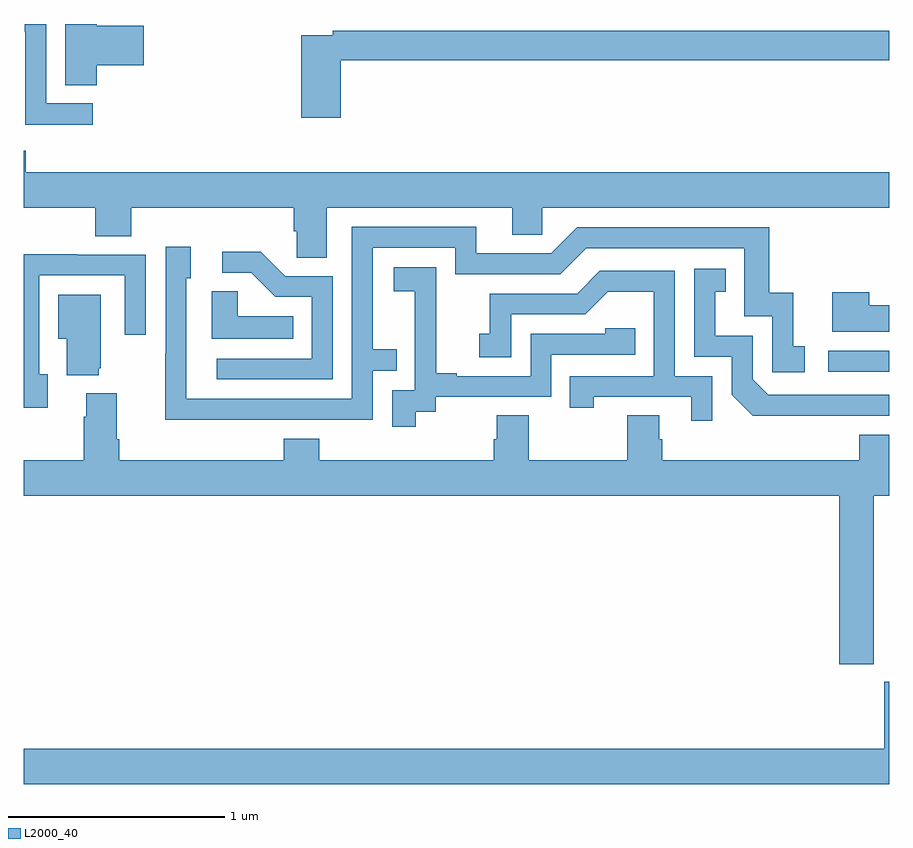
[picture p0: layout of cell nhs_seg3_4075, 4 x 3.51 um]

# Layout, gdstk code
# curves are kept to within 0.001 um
import gdstk
lib = gdstk.Library(unit=1e-6, precision=1e-09)
def R(c, l, rs):  # rectangles x0, y0, x1, y1
    for r in rs: c.add(gdstk.rectangle(r[:2], r[2:], *l))
def P(c, l, *ps):  # polygons
    for p in ps: c.add(gdstk.Polygon(p, *l))
L2000_40 = (2000, 40)

nhs_seg3_4075 = lib.new_cell('nhs_seg3_4075')
R(nhs_seg3_4075, L2000_40, [(328.719,730.794,329,730.89)])
P(nhs_seg3_4075, L2000_40, [(325.337,732.209),(325.555,732.209),(325.555,732.392),(325.337,732.392),(325.337,732.4),(325.193,732.4),(325.193,732.118),(325.337,732.118)],
  [(325.318,732.033),(325.104,732.033),(325.104,732.4),(325.006,732.4),(325.006,732.364),(325.008,732.364),(325.008,731.935),(325.318,731.935)],
  [(326.465,732.232),(329,732.232),(329,732.368),(326.428,732.368),(326.428,732.348),(326.282,732.348),(326.282,731.967),(326.465,731.967)],
  [(326.401,731.552),(327.257,731.552),(327.257,731.425),(327.396,731.425),(327.396,731.552),(329,731.552),(329,731.716),(325.01,731.716),(325.01,731.815),(325,731.815),(325,731.552),(325.331,731.552),(325.331,731.419),(325.496,731.419),(325.496,731.552),(326.249,731.552),(326.249,731.443),(326.262,731.443),(326.262,731.32),(326.401,731.32)],
  [(326.117,730.572),(326.613,730.572),(326.613,730.797),(326.723,730.797),(326.723,730.898),(326.613,730.898),(326.613,731.367),(326.994,731.367),(326.994,731.244),(327.48,731.244),(327.6,731.364),(328.329,731.364),(328.329,731.049),(328.458,731.049),(328.458,730.791),(328.609,730.791),(328.609,730.911),(328.556,730.911),(328.556,731.158),(328.445,731.158),(328.445,731.46),(327.558,731.46),(327.438,731.34),(327.091,731.34),(327.091,731.463),(326.517,731.463),(326.517,730.668),(325.752,730.668),(325.752,731.226),(325.771,731.226),(325.771,731.371),(325.656,731.371),(325.656,730.877),(325.654,730.877),(325.654,730.571)],
  [(326.427,731.235),(326.208,731.235),(326.095,731.348),(325.917,731.348),(325.917,731.25),(326.051,731.25),(326.162,731.139),(326.331,731.139),(326.331,730.854),(325.893,730.854),(325.893,730.758),(326.427,730.758)],
  [(325.111,730.782),(325.071,730.782),(325.071,731.238),(325.467,731.238),(325.467,730.965),(325.563,730.965),(325.563,731.334),(325.247,731.334),(325.247,731.336),(325,731.336),(325,730.626),(325.111,730.626)],
  [(326.812,730.609),(326.904,730.609),(326.904,730.677),(327.438,730.677),(327.438,730.872),(327.827,730.872),(327.827,730.995),(327.687,730.995),(327.687,730.968),(327.342,730.968),(327.342,730.773),(327.001,730.773),(327.001,730.786),(326.906,730.786),(326.906,731.069),(326.907,731.069),(326.907,731.275),(326.709,731.275),(326.709,731.165),(326.807,731.165),(326.807,730.937),(326.808,730.937),(326.808,730.707),(326.703,730.707),(326.703,730.539),(326.812,730.539)],
  [(328.778,730.59),(329,730.59),(329,730.686),(328.44,730.686),(328.368,730.758),(328.368,730.959),(328.195,730.959),(328.195,731.163),(328.244,731.163),(328.244,731.269),(328.098,731.269),(328.098,730.863),(328.272,730.863),(328.272,730.686),(328.37,730.589)],
  [(328.182,730.773),(328.008,730.773),(328.008,731.259),(327.662,731.259),(327.557,731.154),(327.154,731.154),(327.154,730.969),(327.105,730.969),(327.105,730.86),(327.252,730.86),(327.252,731.058),(327.594,731.058),(327.698,731.162),(327.912,731.162),(327.912,730.773),(327.523,730.773),(327.523,730.626),(327.634,730.626),(327.634,730.677),(328.085,730.677),(328.085,730.566),(328.182,730.566)],
  [(326.246,731.05),(325.989,731.05),(325.989,731.165),(325.868,731.165),(325.868,730.946),(326.246,730.946)],
  [(329,731.101),(328.907,731.101),(328.907,731.161),(328.736,731.161),(328.736,730.979),(329,730.979)],
  [(325.346,730.809),(325.357,730.809),(325.357,731.149),(325.16,731.149),(325.16,730.946),(325.199,730.946),(325.199,730.778),(325.346,730.778)],
  [(328.929,730.22),(329,730.22),(329,730.501),(328.862,730.501),(328.862,730.384),(327.95,730.384),(327.95,730.482),(327.937,730.482),(327.937,730.592),(327.79,730.592),(327.79,730.384),(327.333,730.384),(327.333,730.592),(327.185,730.592),(327.185,730.482),(327.173,730.482),(327.173,730.384),(326.366,730.384),(326.366,730.483),(326.201,730.483),(326.201,730.384),(325.442,730.384),(325.442,730.48),(325.429,730.48),(325.429,730.693),(325.289,730.693),(325.289,730.586),(325.277,730.586),(325.277,730.384),(325,730.384),(325,730.22),(328.769,730.22),(328.769,729.441),(328.929,729.441)],
  [(329,729.361),(328.976,729.361),(328.976,729.052),(325,729.052),(325,728.888),(329,728.888)])

lib.write_gds('nhs_seg3_4075.gds')
